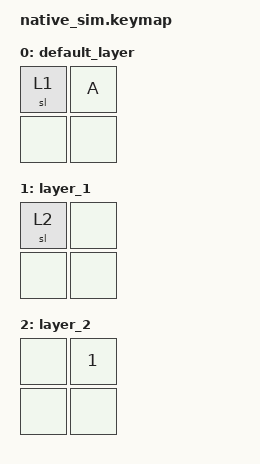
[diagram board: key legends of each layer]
#include <dt-bindings/zmk/keys.h>
#include <behaviors.dtsi>
#include <dt-bindings/zmk/input_mock.h>

/*
 sticky layers should quick-release.
 Thus, the second keypress should be on the default layer, not on the lower_layer.
*/

/ {
    keymap {
        compatible = "zmk,keymap";

        default_layer {
            bindings = <
                &sl 1 &kp A
                &none &none>;
        };

        layer_1 {
            bindings = <
                &sl 2 &none
                &none &none>;
        };

        layer_2 {
            bindings = <
                &none &kp NUM_1
                &none &none>;
        };
    };
};

&mock_input {
    events = <
        /* press sl 1 */
        ZMK_INPUT_MOCK_PRESS(0,0,10)
        ZMK_INPUT_MOCK_RELEASE(0,0,10)
        /* press sl 2 */
        ZMK_INPUT_MOCK_PRESS(0,0,10)
        ZMK_INPUT_MOCK_RELEASE(0,0,10)
        /* press 1 */
        ZMK_INPUT_MOCK_PRESS(0,1,10)
        ZMK_INPUT_MOCK_RELEASE(0,1,10)
        /* press A */
        ZMK_INPUT_MOCK_PRESS(0,1,10)
        ZMK_INPUT_MOCK_RELEASE(0,1,10)

        /* repeat test to check if cleanup is done correctly */
        /* press sl 1 */
        ZMK_INPUT_MOCK_PRESS(0,0,10)
        ZMK_INPUT_MOCK_RELEASE(0,0,10)
        /* press sl 2 */
        ZMK_INPUT_MOCK_PRESS(0,0,10)
        ZMK_INPUT_MOCK_RELEASE(0,0,10)
        /* press 1 */
        ZMK_INPUT_MOCK_PRESS(0,1,10)
        ZMK_INPUT_MOCK_RELEASE(0,1,10)
        /* press A */
        ZMK_INPUT_MOCK_PRESS(0,1,10)
        ZMK_INPUT_MOCK_RELEASE(0,1,10)

    >;
};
